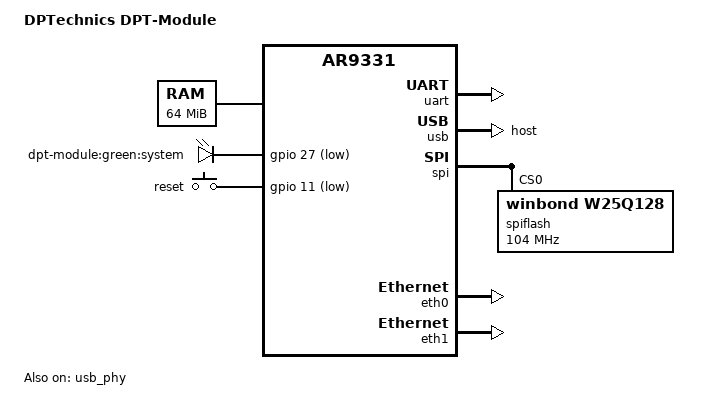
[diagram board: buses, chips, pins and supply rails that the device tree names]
// SPDX-License-Identifier: GPL-2.0
/dts-v1/;

#include <dt-bindings/gpio/gpio.h>
#include <dt-bindings/input/input.h>

#include "ar9331.dtsi"

/ {
	model = "DPTechnics DPT-Module";
	compatible = "dptechnics,dpt-module";

	aliases {
		serial0 = &uart;
	};

	memory@0 {
		device_type = "memory";
		reg = <0x0 0x4000000>;
	};

	leds {
		compatible = "gpio-leds";

		system {
			label = "dpt-module:green:system";
			gpios = <&gpio 27 GPIO_ACTIVE_LOW>;
			default-state = "off";
		};
	};

	gpio-keys {
		compatible = "gpio-keys";
		#address-cells = <1>;
		#size-cells = <0>;

		button@0 {
			label = "reset";
			linux,code = <KEY_RESTART>;
			gpios = <&gpio 11 GPIO_ACTIVE_LOW>;
		};
	};
};

&ref {
	clock-frequency = <25000000>;
};

&uart {
	status = "okay";
};

&gpio {
	status = "okay";
};

&usb {
	dr_mode = "host";
	status = "okay";
};

&usb_phy {
	status = "okay";
};

&spi {
	num-chipselects = <1>;
	status = "okay";

	/* Winbond 25Q128FVSG SPI flash */
	spiflash: w25q128@0 {
		#address-cells = <1>;
		#size-cells = <1>;
		compatible = "winbond,w25q128", "jedec,spi-nor";
		spi-max-frequency = <104000000>;
		reg = <0>;
	};
};

&eth0 {
	status = "okay";
};

&eth1 {
	status = "okay";
};
